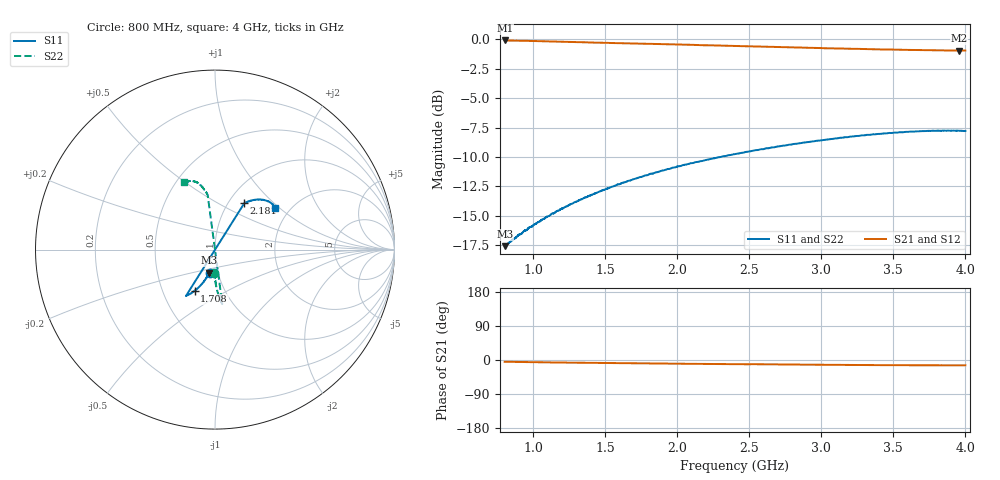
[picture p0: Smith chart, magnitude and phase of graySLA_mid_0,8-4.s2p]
!Created with skrf (http://scikit-rf.org).
# GHz S RI R 50.0
!freq ReS11 ImS11 ReS21 ImS21 ReS12 ImS12 ReS22 ImS22
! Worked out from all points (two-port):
!   5001 points, 800 MHz to 4 GHz, reference 50 ohm
!   highest |S21| = -0.11 dB at 802.6 MHz (marker M1); lowest = -1.0 dB at 3.956 GHz (marker M2)
!   |S21| within 3 dB of the highest: start of sweep to end of sweep
!   lowest |S11| = -17.6 dB at 801.9 MHz (marker M3), VSWR 1.31, Z = 45.4 - j11.9 ohm
!   |S11| at or under -10 dB: start of sweep to 2.298 GHz; 2.298923 GHz to 2.299602 GHz (679.7 kHz wide, 0.0296 % of centre)
!   |S22| runs from -17.6 to -7.7 dB; largest |S21 - S12| = 0.0046
!   S11 on the Smith chart (normalised r, x): 800 MHz: 0.92, -0.24; 1.708 GHz: 0.72, -0.36; 2.181 GHz: 1.18, +0.67; 4 GHz: 1.69, +0.93
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0.8  -0.0263 -0.1311  0.9836 -0.0793  0.9834 -0.0786  -0.00721 -0.1319
0.80192  -0.0318 -0.1285  0.9834 -0.0798  0.9836 -0.0793  -0.00164 -0.1314
0.80256  -0.0317 -0.1289  0.984 -0.0802  0.9837 -0.0794  -0.00142 -0.1315
1.03168  -0.0494 -0.1601  0.9748 -0.1013  0.9755 -0.0984  0.00101 -0.1661
1.16928  -0.0617 -0.1765  0.9698 -0.1121  0.9696 -0.1095  0.00368 -0.186
1.33376  -0.0765 -0.1946  0.9626 -0.122  0.9633 -0.1206  0.00784 -0.2089
1.49632  -0.0922 -0.2112  0.9557 -0.1325  0.9559 -0.1296  0.0126 -0.2296
1.70752  -0.1131 -0.2295  0.9471 -0.1444  0.9477 -0.1422  0.0209 -0.2557
1.86688  -0.1292 -0.2411  0.9408 -0.1528  0.9419 -0.1515  0.0274 -0.2733
2.10112  -0.1547 -0.2545  0.931 -0.1676  0.9317 -0.1641  0.0367 -0.296
2.16448  -0.161 -0.2579  0.9276 -0.1683  0.929 -0.1681  0.0395 -0.3024
2.18112  0.1622 0.2583  0.9266 -0.1688  0.928 -0.1688  -0.0404 0.303
2.19712  0.1646 0.2594  0.9265 -0.1694  0.9276 -0.1694  -0.0408 0.3051
2.4  0.1849 0.2678  0.9182 -0.1784  0.9188 -0.179  -0.0506 0.3212
2.48384  0.1936 0.2706  0.9146 -0.1815  0.9148 -0.1826  -0.0545 0.3277
2.51648  0.1954 0.2721  0.9144 -0.1789  0.9135 -0.1818  -0.0569 0.3294
2.93376  0.2396 0.2793  0.8971 -0.1963  0.8959 -0.1977  -0.0776 0.3564
3.2064  0.2688 0.2774  0.8865 -0.2069  0.886 -0.2062  -0.0934 0.3706
3.46688  0.2948 0.2698  0.8781 -0.2128  0.8776 -0.212  -0.1127 0.3794
3.7696  0.321 0.253  0.8704 -0.2163  0.8706 -0.2131  -0.1416 0.3822
3.95584  0.3347 0.2348  0.8677 -0.2176  0.8682 -0.2152  -0.1626 0.3774
4  0.337 0.2297  0.8678 -0.2178  0.8681 -0.2154  -0.1701 0.3755
